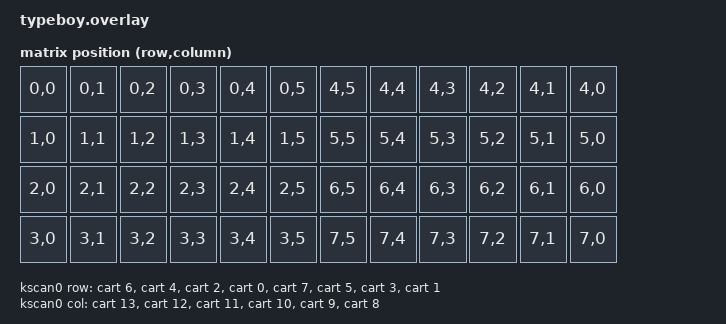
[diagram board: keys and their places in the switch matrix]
#include <dt-bindings/zmk/matrix_transform.h>

#include "typeboy.dtsi"

&cart_spi {
    status = "okay";

    cs-gpios = <&cart 23 GPIO_ACTIVE_HIGH>;
	ls0xx: ls0xx@1 {
		compatible = "sharp,ls0xx";
		label = "DISPLAY";
		spi-max-frequency = <2000000>;
		reg = <0>;
		width = <160>;
		height = <68>;
	};
};

&typeboy_layout {
    transform = <&default_transform>;
};

/ { 
    chosen {
        zmk,kscan = &kscan0;
        zmk,physical-layout = &typeboy_layout;
        zephyr,display = &ls0xx;
    };

    default_transform: keymap_transform_0 {
        compatible = "zmk,matrix-transform";
        columns = <6>;
        rows = <8>;

        map = <
            RC(0,0) RC(0,1) RC(0,2) RC(0,3) RC(0,4) RC(0,5) RC(4,5) RC(4,4) RC(4,3) RC(4,2) RC(4,1) RC(4,0)
            RC(1,0) RC(1,1) RC(1,2) RC(1,3) RC(1,4) RC(1,5) RC(5,5) RC(5,4) RC(5,3) RC(5,2) RC(5,1) RC(5,0)
            RC(2,0) RC(2,1) RC(2,2) RC(2,3) RC(2,4) RC(2,5) RC(6,5) RC(6,4) RC(6,3) RC(6,2) RC(6,1) RC(6,0)
            RC(3,0) RC(3,1) RC(3,2) RC(3,3) RC(3,4) RC(3,5) RC(7,5) RC(7,4) RC(7,3) RC(7,2) RC(7,1) RC(7,0)
        >;
    };

    kscan0: kscan_0 {
        compatible = "zmk,kscan-gpio-matrix";
        wakeup-source;

        diode-direction = "col2row";

        col-gpios
            = <&cart 13 GPIO_ACTIVE_HIGH>
            , <&cart 12 GPIO_ACTIVE_HIGH>
            , <&cart 11 GPIO_ACTIVE_HIGH>
            , <&cart 10 GPIO_ACTIVE_HIGH>
            , <&cart 9 GPIO_ACTIVE_HIGH>
            , <&cart 8 GPIO_ACTIVE_HIGH>
            ;

        row-gpios
            = <&cart 6 (GPIO_ACTIVE_HIGH | GPIO_PULL_DOWN)>
            , <&cart 4 (GPIO_ACTIVE_HIGH | GPIO_PULL_DOWN)>
            , <&cart 2 (GPIO_ACTIVE_HIGH | GPIO_PULL_DOWN)>
            , <&cart 0 (GPIO_ACTIVE_HIGH | GPIO_PULL_DOWN)>
            , <&cart 7 (GPIO_ACTIVE_HIGH | GPIO_PULL_DOWN)>
            , <&cart 5 (GPIO_ACTIVE_HIGH | GPIO_PULL_DOWN)>
            , <&cart 3 (GPIO_ACTIVE_HIGH | GPIO_PULL_DOWN)>
            , <&cart 1 (GPIO_ACTIVE_HIGH | GPIO_PULL_DOWN)>
            ;
    };
};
